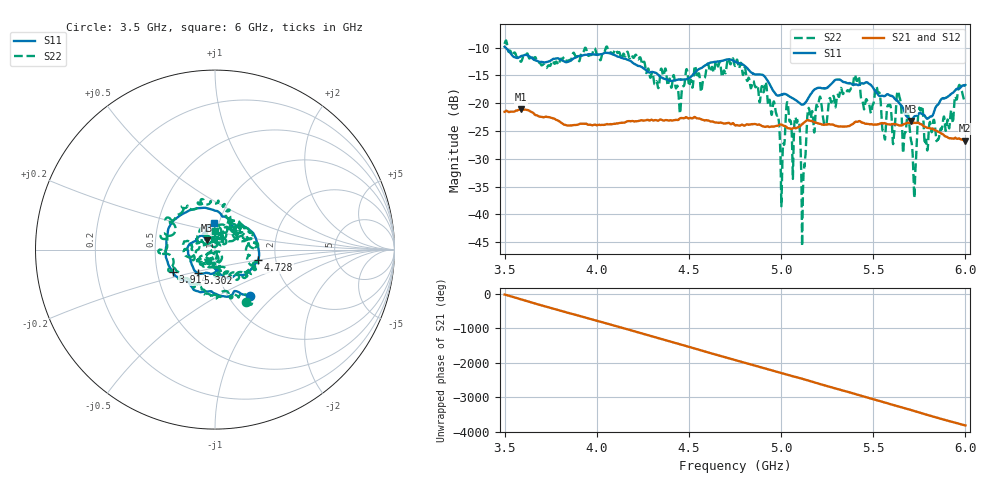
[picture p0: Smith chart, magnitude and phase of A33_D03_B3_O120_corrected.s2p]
! Created with skrf 1.9.0 (http://scikit-rf.org).
# Hz S RI R 50.0
!freq ReS11 ImS11 ReS21 ImS21 ReS12 ImS12 ReS22 ImS22
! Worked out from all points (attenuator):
!   1601 points, 3.5 GHz to 6 GHz, reference 50 ohm
!   highest |S21| = -21.10 dB at 3.591 GHz (marker M1); lowest = -26.7 dB at 5.998 GHz (marker M2)
!   lowest |S11| = -23.2 dB at 5.706 GHz (marker M3), VSWR 1.15, Z = 45.3 + j4.64 ohm
!   |S11| at or under -10 dB: 3.506 GHz to end of sweep
!   |S22| runs from -45.7 to -8.7 dB; largest |S21 - S12| = 0.00098
!   S11 on the Smith chart (normalised r, x): 3.5 GHz: 1.26, -0.72; 3.914 GHz: 0.60, -0.16; 4.728 GHz: 1.62, -0.20; 5.302 GHz: 0.80, -0.21; 6 GHz: 0.95, +0.28
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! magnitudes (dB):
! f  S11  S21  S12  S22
! 3.5 GHz  -9.8  -21.5  -21.5  -9.3
! 3.591 GHz  -11.5  -21.1  -21.1  -12.5
! 3.914 GHz  -11.5  -23.7  -23.7  -11.2
! 3.917 GHz  -11.5  -23.7  -23.7  -10.9
! 4.334 GHz  -14.9  -23.1  -23.1  -17.3
! 4.728 GHz  -12.1  -23.8  -23.7  -12.8
! 4.75 GHz  -12.5  -24.0  -23.9  -13.3
! 4.969 GHz  -18.3  -24.1  -24.1  -21.1
! 5.006 GHz  -18.4  -23.9  -23.9  -30.8
! 5.034 GHz  -18.5  -24.5  -24.4  -19.9
! 5.088 GHz  -19.6  -24.4  -24.4  -23.4
! 5.12 GHz  -20.2  -23.6  -23.5  -34.1
! 5.145 GHz  -19.2  -23.1  -23.0  -21.3
! 5.167 GHz  -18.1  -23.2  -23.2  -21.5
! 5.302 GHz  -15.7  -24.1  -24.1  -19.2
! 5.584 GHz  -18.5  -23.8  -23.8  -20.3
! 5.706 GHz  -23.2  -23.6  -23.5  -26.9
! 5.723 GHz  -22.4  -23.5  -23.5  -37.1
! 5.756 GHz  -21.8  -23.7  -23.7  -21.3
! 5.787 GHz  -22.7  -24.4  -24.3  -26.8
! 5.998 GHz  -16.8  -26.7  -26.6  -19.5
! 6 GHz  -16.7  -26.7  -26.6  -19.5
